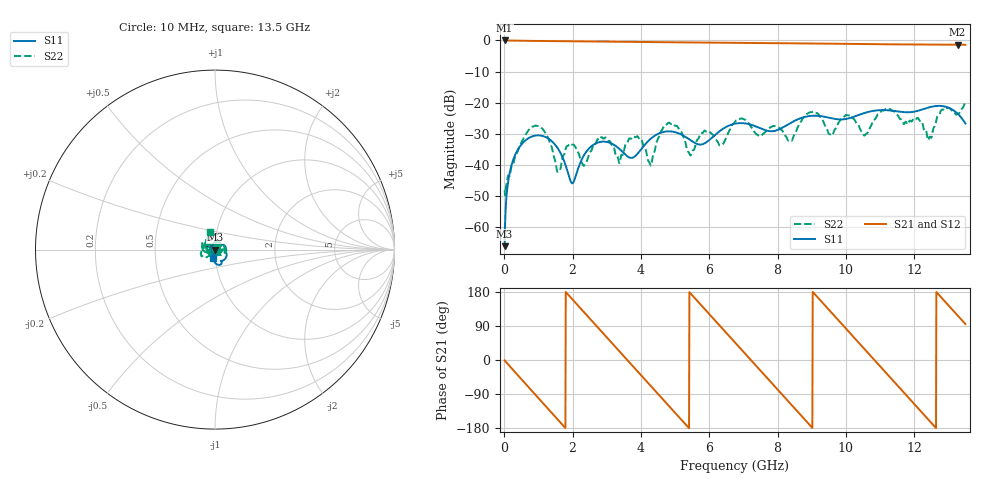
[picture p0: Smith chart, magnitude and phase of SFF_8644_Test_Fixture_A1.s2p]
!Keysight Technologies,N5231B,MY57181281,A.17.25.05
!Automatic Fixture Removal (AFR)
!Date: Friday, March 07, 2025, 04:12:53
!S2P File: Measurements: S11,S21,S12,S22:
# MHz S  RI  R 50
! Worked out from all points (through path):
!   1350 points, 10 MHz to 13.5 GHz, reference 50 ohm
!   highest |S21| = -0.01 dB at 10 MHz (marker M1); lowest = -1.4 dB at 13.27 GHz (marker M2)
!   group delay of S21, straight-line fit = 277 ps
!   lowest |S11| = -66.0 dB at 10 MHz (marker M3), VSWR 1.00, Z = 50 - j0.0501 ohm
!   |S11| at or under -10 dB: start of sweep to end of sweep
!   |S22| runs from -49.7 to -20.0 dB; largest |S21 - S12| = 1.4e-15
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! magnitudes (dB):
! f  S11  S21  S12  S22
! 10 MHz  -66.0  0.0  0.0  -48.1
! 180 MHz  -41.4  -0.1  -0.1  -42.3
! 600 MHz  -32.2  -0.1  -0.1  -30.7
! 1.1 GHz  -30.6  -0.2  -0.2  -28.1
! 1.59 GHz  -35.0  -0.2  -0.2  -41.8
! 1.98 GHz  -45.8  -0.3  -0.3  -33.4
! 2.26 GHz  -38.4  -0.3  -0.3  -39.0
! 2.86 GHz  -32.5  -0.4  -0.4  -31.0
! 3.84 GHz  -37.1  -0.5  -0.5  -31.1
! 4.27 GHz  -31.7  -0.5  -0.5  -39.8
! 4.51 GHz  -29.9  -0.6  -0.6  -31.4
! 4.97 GHz  -29.3  -0.6  -0.6  -27.0
! 5.45 GHz  -32.0  -0.6  -0.6  -36.9
! 6.76 GHz  -26.7  -0.8  -0.8  -26.0
! 8.37 GHz  -26.5  -0.9  -0.9  -31.9
! 9.01 GHz  -24.2  -1.0  -1.0  -23.0
! 10.56 GHz  -23.2  -1.2  -1.2  -30.4
! 11.26 GHz  -22.4  -1.2  -1.2  -22.1
! 12.45 GHz  -21.4  -1.4  -1.4  -31.0
! 12.84 GHz  -21.1  -1.4  -1.4  -22.2
! 13.27 GHz  -23.5  -1.4  -1.4  -23.6
! 13.5 GHz  -26.7  -1.4  -1.4  -20.0
